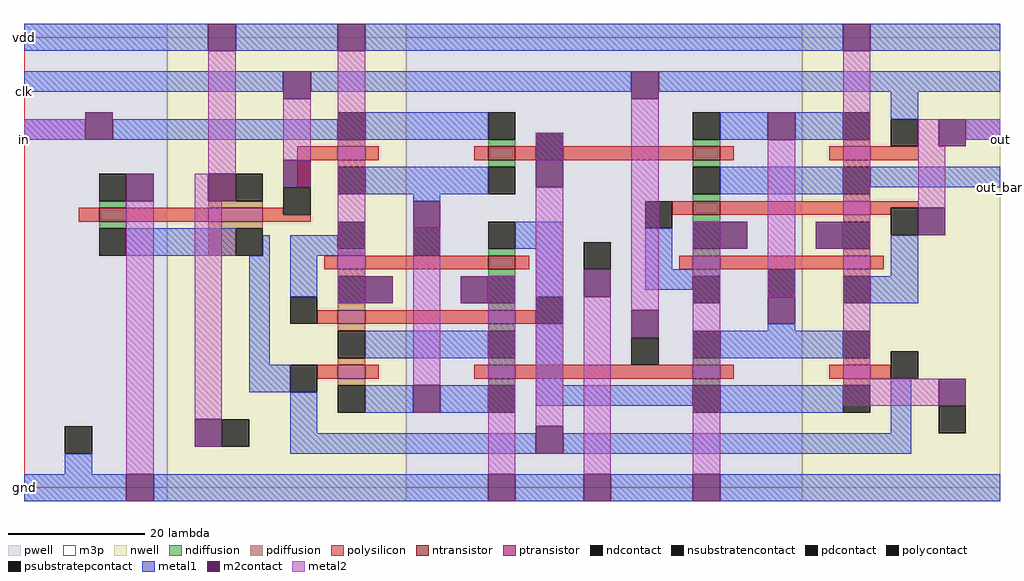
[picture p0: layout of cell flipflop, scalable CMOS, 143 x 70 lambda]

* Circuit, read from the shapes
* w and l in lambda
.subckt flipflop clk gnd in out out_bar vdd
M1 gnd clk n1 gnd nfet w=4 l=2
M2 n2 clk n3 gnd nfet w=4 l=2
M3 gnd n4 n2 gnd nfet w=4 l=2
M4 n4 n3 gnd gnd nfet w=4 l=2
M5 in n1 n3 gnd nfet w=4 l=2
M6 n5 clk n4 gnd nfet w=4 l=2
M7 gnd n5 out gnd nfet w=4 l=2
M8 out_bar out gnd gnd nfet w=4 l=2
M9 n5 n1 out_bar gnd nfet w=4 l=2
M10 vdd clk n1 vdd pfet w=8 l=2
M11 n2 n1 n3 vdd pfet w=4 l=2
M12 vdd n4 n2 vdd pfet w=4 l=2
M13 n4 n3 vdd vdd pfet w=4 l=2
M14 in clk n3 vdd pfet w=4 l=2
M15 n5 n1 n4 vdd pfet w=4 l=2
M16 vdd n5 out vdd pfet w=4 l=2
M17 out_bar out vdd vdd pfet w=4 l=2
M18 n5 clk out_bar vdd pfet w=4 l=2
.ends

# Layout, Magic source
magic
tech scmos
<< nwell >>
rect 21 -2 56 68
rect 114 -2 143 68
<< pwell >>
rect 0 -2 21 68
rect 56 -2 114 68
<< ntransistor >>
rect 68 48 72 50
rect 98 48 102 50
rect 11 39 15 41
rect 98 40 102 42
rect 68 32 72 34
rect 98 32 102 34
rect 68 24 72 26
rect 68 16 72 18
rect 98 16 102 18
<< ptransistor >>
rect 46 48 50 50
rect 120 48 124 50
rect 27 39 35 41
rect 120 40 124 42
rect 46 32 50 34
rect 120 32 124 34
rect 46 24 50 26
rect 46 16 50 18
rect 120 16 124 18
<< ndiffusion >>
rect 68 50 72 51
rect 98 50 102 51
rect 11 41 15 42
rect 68 47 72 48
rect 98 47 102 48
rect 98 42 102 43
rect 11 38 15 39
rect 98 39 102 40
rect 68 34 72 35
rect 98 34 102 35
rect 68 31 72 32
rect 98 31 102 32
rect 68 26 72 27
rect 68 23 72 24
rect 68 18 72 19
rect 98 18 102 19
rect 68 15 72 16
rect 98 15 102 16
<< pdiffusion >>
rect 46 50 50 51
rect 120 50 124 51
rect 27 42 31 46
rect 27 41 35 42
rect 46 47 50 48
rect 120 47 124 48
rect 120 42 124 43
rect 27 38 35 39
rect 27 34 31 38
rect 46 34 50 35
rect 120 39 124 40
rect 120 34 124 35
rect 46 31 50 32
rect 46 26 50 27
rect 120 31 124 32
rect 46 23 50 24
rect 46 18 50 19
rect 120 18 124 19
rect 46 15 50 16
rect 120 15 124 16
<< ndcontact >>
rect 68 51 72 55
rect 98 51 102 55
rect 11 42 15 46
rect 68 43 72 47
rect 98 43 102 47
rect 11 34 15 38
rect 68 35 72 39
rect 98 35 102 39
rect 68 27 72 31
rect 98 27 102 31
rect 68 19 72 23
rect 98 19 102 23
rect 68 11 72 15
rect 98 11 102 15
<< pdcontact >>
rect 46 51 50 55
rect 120 51 124 55
rect 31 42 35 46
rect 46 43 50 47
rect 120 43 124 47
rect 31 34 35 38
rect 46 35 50 39
rect 120 35 124 39
rect 46 27 50 31
rect 120 27 124 31
rect 46 19 50 23
rect 120 19 124 23
rect 46 11 50 15
rect 120 11 124 15
<< psubstratepcontact >>
rect 82 32 86 36
rect 6 5 10 9
<< nsubstratencontact >>
rect 29 6 33 10
rect 134 8 138 12
<< polysilicon >>
rect 40 48 46 50
rect 50 48 52 50
rect 66 48 68 50
rect 72 48 75 50
rect 79 48 98 50
rect 102 48 104 50
rect 118 48 120 50
rect 124 48 131 50
rect 40 44 42 48
rect 8 39 11 41
rect 15 39 27 41
rect 35 40 38 41
rect 35 39 42 40
rect 95 40 98 42
rect 102 40 120 42
rect 124 41 131 42
rect 124 40 127 41
rect 44 32 46 34
rect 50 32 68 34
rect 72 32 74 34
rect 96 32 98 34
rect 102 32 120 34
rect 124 32 126 34
rect 43 24 46 26
rect 50 24 68 26
rect 72 24 75 26
rect 43 16 46 18
rect 50 16 52 18
rect 66 16 68 18
rect 72 16 98 18
rect 102 16 104 18
rect 118 16 120 18
rect 124 16 127 18
<< polycontact >>
rect 75 48 79 52
rect 127 50 131 54
rect 38 40 42 44
rect 57 34 61 38
rect 91 38 95 42
rect 127 37 131 41
rect 39 24 43 28
rect 75 24 79 28
rect 109 28 113 32
rect 89 18 93 22
rect 39 14 43 18
rect 127 16 131 20
<< metal1 >>
rect 0 64 27 68
rect 31 64 46 68
rect 50 64 120 68
rect 124 64 143 68
rect 0 58 38 61
rect 42 58 89 61
rect 93 58 143 61
rect 0 51 9 54
rect 13 51 46 54
rect 50 51 68 55
rect 102 51 109 55
rect 113 51 120 55
rect 127 54 131 58
rect 138 51 143 54
rect 50 43 68 47
rect 102 43 120 47
rect 124 44 143 47
rect 57 42 61 43
rect 15 34 31 38
rect 35 34 36 37
rect 33 18 36 34
rect 39 35 46 37
rect 39 34 50 35
rect 72 35 79 39
rect 39 28 43 34
rect 75 28 79 35
rect 91 32 95 38
rect 91 31 102 32
rect 91 29 98 31
rect 127 31 131 37
rect 50 19 68 23
rect 33 14 39 18
rect 75 15 79 24
rect 124 27 131 31
rect 109 23 113 24
rect 102 19 120 23
rect 39 8 43 14
rect 50 11 57 15
rect 61 11 68 15
rect 75 12 98 15
rect 102 11 120 15
rect 39 5 75 8
rect 127 8 130 16
rect 79 5 130 8
rect 6 2 10 5
rect 0 -2 15 2
rect 19 -2 68 2
rect 72 -2 82 2
rect 86 -2 98 2
rect 102 -2 143 2
<< m2contact >>
rect 27 64 31 68
rect 46 64 50 68
rect 120 64 124 68
rect 38 57 42 61
rect 89 57 93 61
rect 9 51 13 55
rect 109 51 113 55
rect 134 50 138 54
rect 15 42 19 46
rect 27 42 31 46
rect 38 44 42 48
rect 75 44 79 48
rect 57 38 61 42
rect 50 27 54 31
rect 64 27 68 31
rect 82 28 86 32
rect 102 35 106 39
rect 116 35 120 39
rect 131 37 135 41
rect 89 22 93 26
rect 109 24 113 28
rect 25 6 29 10
rect 57 11 61 15
rect 75 5 79 9
rect 134 12 138 16
rect 15 -2 19 2
rect 68 -2 72 2
rect 82 -2 86 2
rect 98 -2 102 2
<< metal2 >>
rect 0 51 9 54
rect 27 46 31 64
rect 15 2 19 42
rect 25 42 27 46
rect 38 48 42 57
rect 25 10 29 42
rect 46 27 50 64
rect 75 48 79 52
rect 57 15 61 38
rect 68 2 72 31
rect 75 9 79 44
rect 82 2 86 28
rect 89 26 93 57
rect 98 2 102 39
rect 109 28 113 51
rect 120 16 124 64
rect 131 50 134 54
rect 138 51 143 54
rect 131 41 135 50
rect 120 12 134 16
<< m3p >>
rect 0 0 143 66
<< labels >>
rlabel metal1 143 51 143 51 7 out
rlabel metal1 143 44 143 44 7 out_bar
rlabel metal1 0 51 0 51 3 in
rlabel metal1 0 66 0 66 4 vdd
rlabel metal1 0 0 0 0 2 gnd
rlabel metal1 0 58 0 58 3 clk
<< end >>
